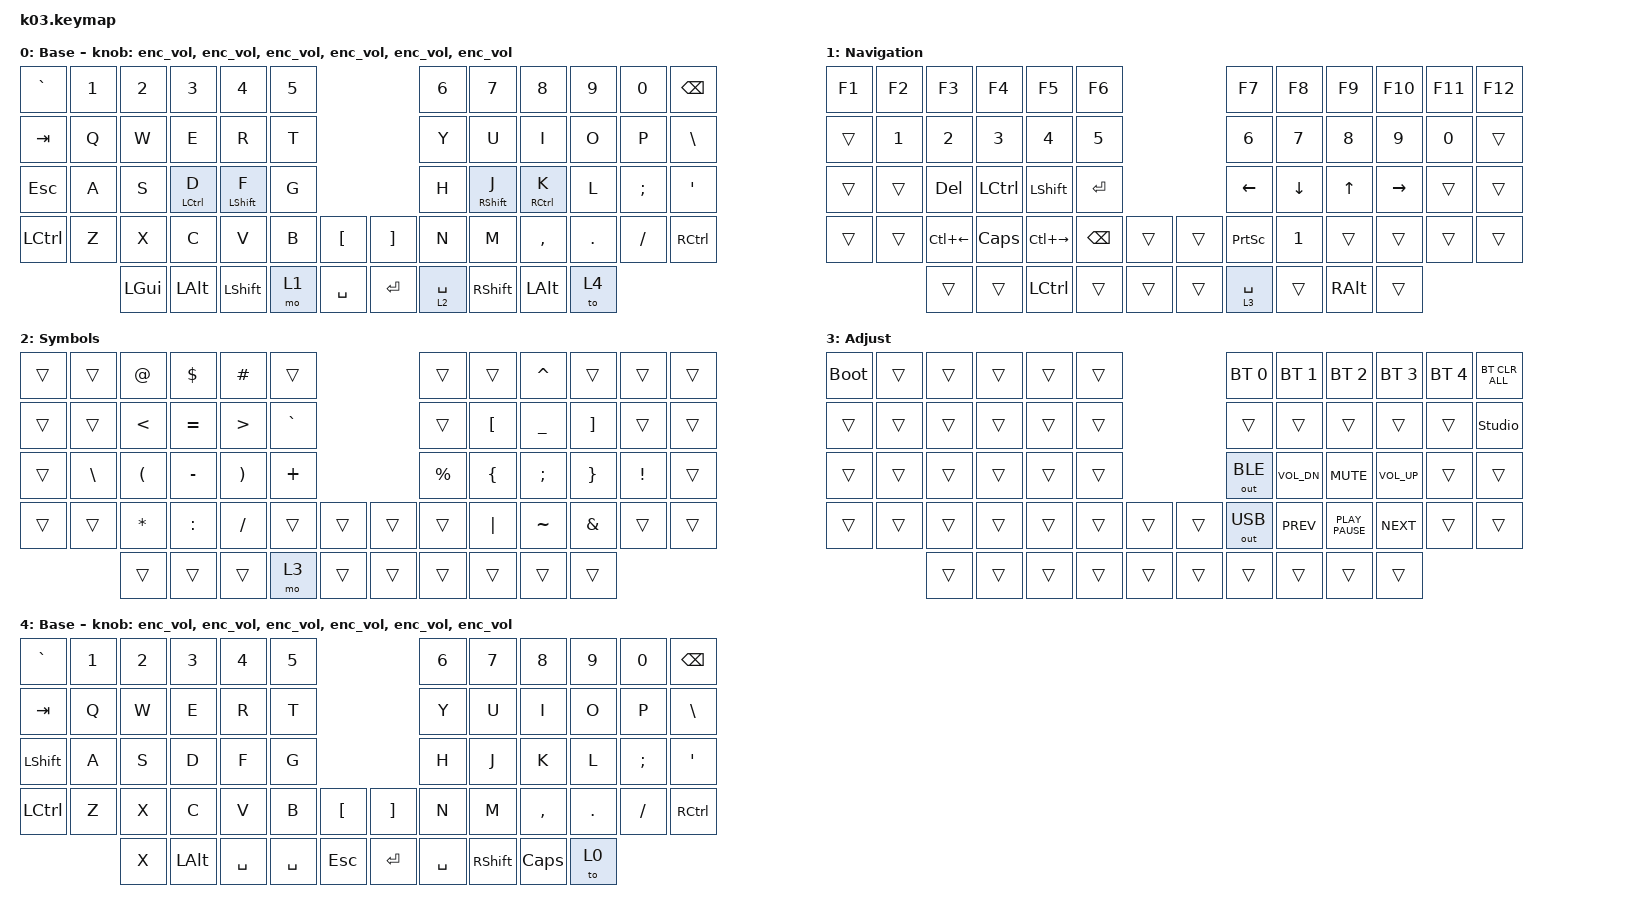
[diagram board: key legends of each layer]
#include "keys_ru.h"
#include <behaviors.dtsi>
#include <dt-bindings/zmk/bt.h>
#include <dt-bindings/zmk/keys.h>
#include <dt-bindings/zmk/outputs.h>

/ {
    behaviors {
        enc_vol: enc_vol {
            compatible = "zmk,behavior-sensor-rotate";
            label = "ENC_VOL";
            #sensor-binding-cells = <0>;
            bindings = <&kp C_VOL_UP>, <&kp C_VOL_DN>;
        };

        HomeRow: HomeRow {
            compatible = "zmk,behavior-hold-tap";
            label = "HOMEROW";
            bindings = <&kp>, <&kp>;

            #binding-cells = <2>;
            tapping-term-ms = <280>;
            flavor = "balanced";
            quick-tap-ms = <175>;
            require-prior-idle-ms = <150>;
        };
    };

    keymap {
        compatible = "zmk,keymap";

        base {
            bindings = <
&kp GRAVE         &kp N1  &kp N2    &kp N3                   &kp N4                 &kp N5                          &kp N6       &kp N7                  &kp N8                    &kp N9   &kp N0    &kp BSPC
&kp TAB           &kp Q   &kp W     &kp E                    &kp R                  &kp T                           &kp Y        &kp U                   &kp I                     &kp O    &kp P     &kp BSLH
&kp ESC           &kp A   &kp S     &HomeRow LEFT_CONTROL D  &HomeRow LEFT_SHIFT F  &kp G                           &kp H        &HomeRow RIGHT_SHIFT J  &HomeRow RIGHT_CONTROL K  &kp L    &kp SEMI  &kp SQT
&kp LEFT_CONTROL  &kp Z   &kp X     &kp C                    &kp V                  &kp B   &kp LBKT     &kp RBKT   &kp N        &kp M                   &kp COMMA                 &kp DOT  &kp FSLH  &kp RIGHT_CONTROL
                          &kp LGUI  &kp LALT                 &kp LEFT_SHIFT         &mo 1   &kp SPACE    &kp ENTER  &lt 2 SPACE  &kp RIGHT_SHIFT         &kp LEFT_ALT              &to 4
            >;

            display-name = "Base";
            sensor-bindings =
                <&enc_vol>,
                <&enc_vol>,
                <&enc_vol>,
                <&enc_vol>,
                <&enc_vol>,
                <&enc_vol>;
        };

        nav {
            bindings = <
&kp F1  &kp F2  &kp F3        &kp F4            &kp F5            &kp F6                           &kp F7           &kp F8          &kp F9         &kp F10          &kp F11  &kp F12
&trans  &kp N1  &kp N2        &kp N3            &kp N4            &kp N5                           &kp N6           &kp N7          &kp N8         &kp N9           &kp N0   &trans
&trans  &trans  &kp DELETE    &kp LEFT_CONTROL  &kp LEFT_SHIFT    &kp RET                          &kp LEFT_ARROW   &kp DOWN_ARROW  &kp UP         &kp RIGHT_ARROW  &trans   &trans
&trans  &trans  &kp LC(LEFT)  &kp CAPS          &kp LC(RIGHT)     &kp BACKSPACE  &trans    &trans  &kp PRINTSCREEN  &kp N1          &trans         &trans           &trans   &trans
                &trans        &trans            &kp LEFT_CONTROL  &trans         &trans    &trans  &lt 3 SPACE      &trans          &kp RIGHT_ALT  &trans
            >;

            display-name = "Navigation";
        };

        sym {
            bindings = <
&trans  &trans    &kp AT    &kp DLLR   &kp HASH  &trans                       &trans     &trans    &kp CARET  &trans    &trans    &trans
&trans  &trans    &kp LT    &kp EQUAL  &kp GT    &kp GRAVE                    &trans     &kp LBKT  &kp UNDER  &kp RBKT  &trans    &trans
&trans  &kp BSLH  &kp LPAR  &kp MINUS  &kp RPAR  &kp PLUS                     &kp PRCNT  &kp LBRC  &kp SEMI   &kp RBRC  &kp EXCL  &trans
&trans  &trans    &kp STAR  &kp COLON  &kp FSLH  &trans     &trans    &trans  &trans     &kp PIPE  &kp TILDE  &kp AMPS  &trans    &trans
                  &trans    &trans     &trans    &mo 3      &trans    &trans  &trans     &trans    &trans     &trans
            >;

            display-name = "Symbols";
        };

        adj {
            bindings = <
&bootloader  &trans  &trans  &trans  &trans  &trans                    &bt BT_SEL 0  &bt BT_SEL 1  &bt BT_SEL 2      &bt BT_SEL 3  &bt BT_SEL 4  &bt BT_CLR_ALL
&trans       &trans  &trans  &trans  &trans  &trans                    &trans        &trans        &trans            &trans        &trans        &studio_unlock
&trans       &trans  &trans  &trans  &trans  &trans                    &out OUT_BLE  &kp C_VOL_DN  &kp K_MUTE        &kp C_VOL_UP  &trans        &trans
&trans       &trans  &trans  &trans  &trans  &trans  &trans    &trans  &out OUT_USB  &kp K_PREV    &kp K_PLAY_PAUSE  &kp K_NEXT    &trans        &trans
                     &trans  &trans  &trans  &trans  &trans    &trans  &trans        &trans        &trans            &trans
            >;

            display-name = "Adjust";
        };

        Game {
            display-name = "Base";
            bindings = <
&kp GRAVE         &kp N1  &kp N2  &kp N3    &kp N4     &kp N5                            &kp N6     &kp N7           &kp N8     &kp N9   &kp N0    &kp BSPC
&kp TAB           &kp Q   &kp W   &kp E     &kp R      &kp T                             &kp Y      &kp U            &kp I      &kp O    &kp P     &kp BSLH
&kp LSHFT         &kp A   &kp S   &kp D     &kp F      &kp G                             &kp H      &kp J            &kp K      &kp L    &kp SEMI  &kp SQT
&kp LEFT_CONTROL  &kp Z   &kp X   &kp C     &kp V      &kp B      &kp LBKT    &kp RBKT   &kp N      &kp M            &kp COMMA  &kp DOT  &kp FSLH  &kp RIGHT_CONTROL
                          &kp X   &kp LALT  &kp SPACE  &kp SPACE  &kp ESC     &kp ENTER  &kp SPACE  &kp RIGHT_SHIFT  &kp CAPS   &to 0
            >;

            sensor-bindings =
                <&enc_vol>,
                <&enc_vol>,
                <&enc_vol>,
                <&enc_vol>,
                <&enc_vol>,
                <&enc_vol>;
        };
    };
};
